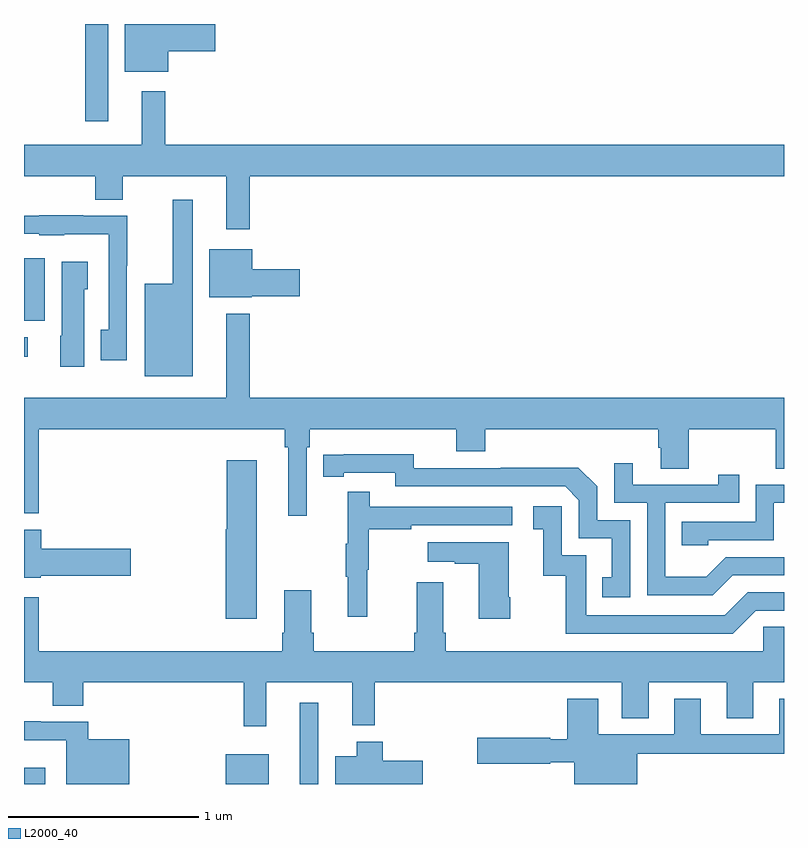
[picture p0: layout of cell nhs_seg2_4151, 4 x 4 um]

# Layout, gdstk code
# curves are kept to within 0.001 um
import gdstk
lib = gdstk.Library(unit=1e-6, precision=1e-09)
def R(c, l, rs):  # rectangles x0, y0, x1, y1
    for r in rs: c.add(gdstk.rectangle(r[:2], r[2:], *l))
def P(c, l, *ps):  # polygons
    for p in ps: c.add(gdstk.Polygon(p, *l))
L2000_40 = (2000, 40)

nhs_seg2_4151 = lib.new_cell('nhs_seg2_4151')
R(nhs_seg2_4151, L2000_40, [(335,613.8,335.113,613.885), (336.062,613.8,336.289,613.957), (336.452,613.8,336.549,614.227), (335,616.05,335.02,616.152), (335,616.239,335.11,616.567), (335.322,617.289,335.443,617.8)])
P(nhs_seg2_4151, L2000_40, [(335.758,617.656),(336.007,617.656),(336.007,617.798),(335.754,617.798),(335.754,617.8),(335.531,617.8),(335.531,617.549),(335.758,617.549)],
  [(336.187,617),(339,617),(339,617.164),(335.743,617.164),(335.743,617.446),(335.621,617.446),(335.621,617.164),(335,617.164),(335,617),(335.374,617),(335.374,616.876),(335.521,616.876),(335.521,617),(336.065,617),(336.065,616.719),(336.187,616.719)],
  [(335.887,616.876),(335.783,616.876),(335.783,616.432),(335.636,616.432),(335.636,615.947),(335.887,615.947)],
  [(335.541,616.528),(335.544,616.528),(335.544,616.791),(335.311,616.791),(335.311,616.793),(335.079,616.793),(335.079,616.791),(335,616.791),(335,616.695),(335.079,616.695),(335.079,616.688),(335.211,616.688),(335.211,616.694),(335.445,616.694),(335.445,616.19),(335.405,616.19),(335.405,616.029),(335.541,616.029)],
  [(336.198,616.367),(336.451,616.367),(336.451,616.509),(336.202,616.509),(336.202,616.615),(335.975,616.615),(335.975,616.361),(336.198,616.361)],
  [(335.317,616.404),(335.335,616.404),(335.335,616.549),(335.198,616.549),(335.198,616.158),(335.192,616.158),(335.192,615.996),(335.317,615.996)],
  [(336.489,615.572),(336.503,615.572),(336.503,615.668),(337.274,615.668),(337.274,615.551),(337.427,615.551),(337.427,615.668),(338.339,615.668),(338.339,615.57),(338.351,615.57),(338.351,615.46),(338.499,615.46),(338.499,615.668),(338.956,615.668),(338.956,615.46),(339,615.46),(339,615.832),(336.187,615.832),(336.187,616.276),(336.065,616.276),(336.065,615.832),(335,615.832),(335,615.224),(335.077,615.224),(335.077,615.668),(336.373,615.668),(336.373,615.572),(336.392,615.572),(336.392,615.213),(336.489,615.213)],
  [(338.19,615.189),(338.016,615.189),(338.016,615.366),(337.918,615.464),(337.51,615.464),(337.51,615.462),(337.05,615.462),(337.05,615.535),(336.574,615.534),(336.574,615.418),(336.682,615.418),(336.682,615.438),(336.954,615.438),(336.954,615.366),(337.848,615.366),(337.92,615.294),(337.92,615.093),(338.093,615.093),(338.093,614.889),(338.044,614.889),(338.044,614.784),(338.19,614.784)],
  [(336.226,615.505),(336.068,615.505),(336.068,615.141),(336.062,615.141),(336.062,614.67),(336.226,614.67)],
  [(338.731,614.898),(339,614.898),(339,614.994),(338.694,614.994),(338.59,614.89),(338.376,614.89),(338.376,615.279),(338.765,615.279),(338.765,615.427),(338.654,615.427),(338.654,615.375),(338.203,615.375),(338.203,615.487),(338.106,615.487),(338.106,615.279),(338.28,615.279),(338.28,614.793),(338.626,614.793)],
  [(338.601,615.084),(338.946,615.084),(338.946,615.279),(339,615.279),(339,615.375),(338.85,615.375),(338.85,615.18),(338.461,615.18),(338.461,615.057),(338.601,615.057)],
  [(336.806,614.928),(336.814,614.928),(336.814,615.142),(337.037,615.142),(337.037,615.162),(337.57,615.162),(337.57,615.258),(336.821,615.258),(336.821,615.337),(336.704,615.337),(336.704,615.065),(336.693,615.065),(336.693,614.891),(336.704,614.891),(336.704,614.679),(336.806,614.679)],
  [(338.85,614.712),(339,614.712),(339,614.808),(338.808,614.808),(338.688,614.688),(337.959,614.688),(337.959,615.003),(337.83,615.003),(337.83,615.262),(337.68,615.262),(337.68,615.141),(337.733,615.141),(337.733,614.895),(337.851,614.895),(337.851,614.592),(338.73,614.592)],
  [(335.088,614.896),(335.563,614.896),(335.563,615.038),(335.092,615.038),(335.092,615.139),(335,615.139),(335,614.885),(335.088,614.885)],
  [(337.56,614.782),(337.552,614.782),(337.552,615.073),(337.125,615.073),(337.125,614.969),(337.268,614.969),(337.268,614.959),(337.394,614.959),(337.394,614.67),(337.56,614.67)],
  [(339,614.627),(338.892,614.627),(338.892,614.5),(337.22,614.5),(337.22,614.596),(337.207,614.596),(337.207,614.863),(337.067,614.863),(337.067,614.596),(337.055,614.596),(337.055,614.5),(336.524,614.5),(336.524,614.596),(336.511,614.596),(336.511,614.821),(336.371,614.821),(336.371,614.596),(336.359,614.596),(336.359,614.5),(335.077,614.5),(335.077,614.782),(335,614.782),(335,614.336),(335.152,614.336),(335.152,614.212),(335.312,614.212),(335.312,614.336),(336.157,614.336),(336.157,614.103),(336.275,614.103),(336.275,614.336),(336.728,614.336),(336.728,614.108),(336.845,614.108),(336.845,614.336),(338.147,614.336),(338.147,614.146),(338.287,614.146),(338.287,614.336),(338.699,614.336),(338.699,614.146),(338.839,614.146),(338.839,614.336),(339,614.336)],
  [(338.227,613.96),(339,613.96),(339,614.248),(338.975,614.248),(338.975,614.061),(338.563,614.061),(338.563,614.248),(338.423,614.248),(338.423,614.061),(338.023,614.061),(338.023,614.248),(337.859,614.248),(337.859,614.035),(337.77,614.035),(337.77,614.043),(337.386,614.043),(337.386,613.906),(337.77,613.906),(337.77,613.914),(337.895,613.914),(337.895,613.8),(338.227,613.8)],
  [(335.554,614.035),(335.339,614.035),(335.339,614.127),(335.089,614.127),(335.089,614.129),(335,614.129),(335,614.03),(335.223,614.03),(335.223,613.8),(335.554,613.8)],
  [(337.099,613.923),(336.887,613.923),(336.887,614.023),(336.752,614.023),(336.752,613.945),(336.638,613.945),(336.638,613.8),(337.099,613.8)])

lib.write_gds('nhs_seg2_4151.gds')
